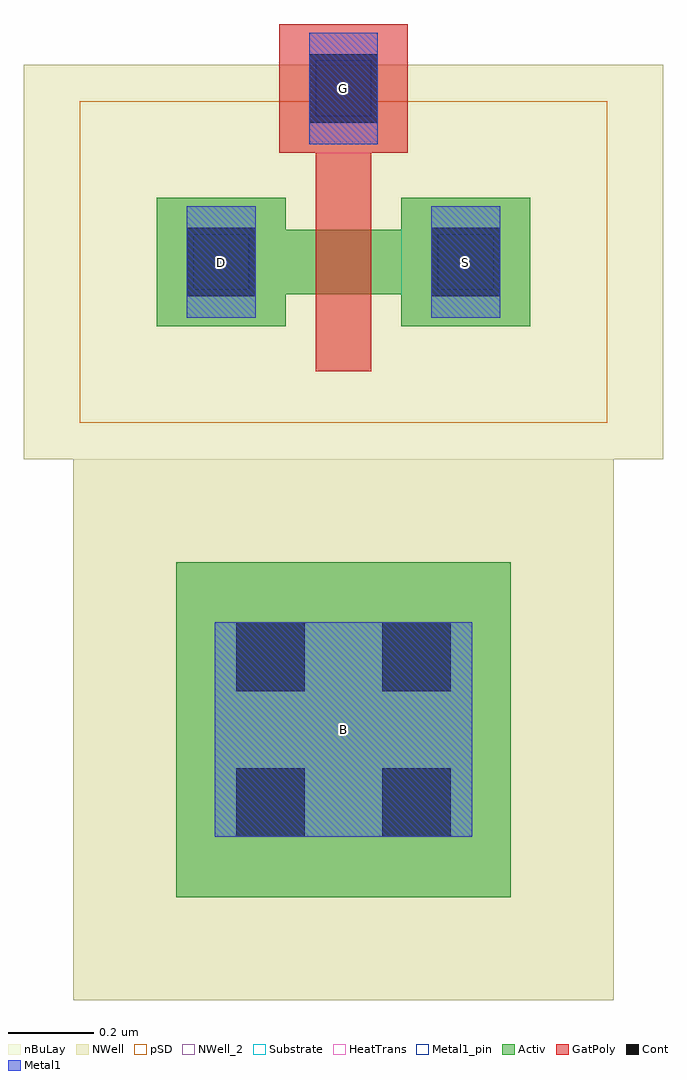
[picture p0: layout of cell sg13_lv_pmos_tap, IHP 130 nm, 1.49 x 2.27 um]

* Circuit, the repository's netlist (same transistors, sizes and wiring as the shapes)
** sch_path: /foss/designs/ihp-open-pdk-regression/LVS-testbenches/schematic/sg13_lv_pmos_tap.sch
.subckt sg13_lv_pmos_tap D S G B
*.PININFO D:B S:B G:B B:B
MM1 D G S net1 sg13_lv_pmos w=0.15u l=0.13u ng=1
RR1 B net1 ntap1 A=6.084e-13 P=3.12e-06
.ends

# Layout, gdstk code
from math import pi, radians
import gdstk
lib = gdstk.Library(unit=1e-6, precision=5e-09)
def R(c, l, rs):  # rectangles x0, y0, x1, y1
    for r in rs: c.add(gdstk.rectangle(r[:2], r[2:], *l))
Activ = (1, 0)
GatPoly = (5, 0)
Cont = (6, 0)
Metal1 = (8, 0)
Metal1_pin = (8, 2)
pSD = (14, 0)
NWell = (31, 0)
NWell_2 = (31, 2)
nBuLay = (32, 0)
Substrate = (40, 0)
HeatTrans = (51, 0)

pmos = lib.new_cell('pmos')
R(pmos, Activ, [(0,0,0.3,0.3), (0.57,0,0.87,0.3), (0,0.075,0.87,0.225)])
R(pmos, GatPoly, [(0.37,-0.105,0.5,0.405), (0.37,-0.105,0.5,0.405)])
R(pmos, Cont, [(0.07,0.07,0.23,0.23), (0.64,0.07,0.8,0.23)])
R(pmos, Metal1, [(0.07,0.02,0.23,0.28), (0.07,0.02,0.23,0.28), (0.64,0.02,0.8,0.28), (0.64,0.02,0.8,0.28)])
R(pmos, pSD, [(-0.18,-0.225,1.05,0.525)])
R(pmos, NWell, [(-0.31,-0.31,1.18,0.61)])
R(pmos, Substrate, [(0.57,0,0.87,0.3)])
R(pmos, HeatTrans, [(0.37,-0.105,0.5,0.405)])
pmos.add(gdstk.Label('pmos', (0.435,0.15), layer=63, texttype=0))
pmos.add(gdstk.Label('pmos', (0.435,0.15), layer=51, texttype=0))

via = lib.new_cell('Via')
R(via, GatPoly, [(-0.15,-0.15,0.15,0.15)])
R(via, Cont, [(-0.08,-0.08,0.08,0.08)])
R(via, Metal1, [(-0.13,-0.08,0.13,0.08)])

ntap1 = lib.new_cell('ntap1')
R(ntap1, Activ, [(0,0,0.78,0.78)])
R(ntap1, Cont, [(0.14,0.14,0.3,0.3), (0.48,0.14,0.64,0.3), (0.14,0.48,0.3,0.64), (0.48,0.48,0.64,0.64)])
R(ntap1, Metal1, [(0.14,0.09,0.64,0.69)])
R(ntap1, Metal1_pin, [(0.14,0.09,0.64,0.69), (0.14,0.14,0.64,0.64)])
R(ntap1, NWell, [(-0.24,-0.24,1.02,1.02), (0,0,0.78,0.78)])
R(ntap1, NWell_2, [(0,0,0.78,0.78)])
R(ntap1, nBuLay, [(-0.24,-0.24,1.02,1.02)])
ntap1.add(gdstk.Label('well', (0.39,0.01), layer=31, texttype=0))
ntap1.add(gdstk.Label('well', (0.39,0.01), layer=63, texttype=0))

sg13_lv_pmos_tap = lib.new_cell('sg13_lv_pmos_tap')
R(sg13_lv_pmos_tap, Metal1_pin, [(0.37,-1.005,0.5,-0.875), (0.085,0.085,0.215,0.215), (0.655,0.085,0.785,0.215), (0.37,0.49,0.5,0.62)])
sg13_lv_pmos_tap.add(gdstk.Reference(pmos, (0,0)))
sg13_lv_pmos_tap.add(gdstk.Reference(via, (0.435,0.555), rotation=3*pi/2))
sg13_lv_pmos_tap.add(gdstk.Reference(ntap1, (0.045,-0.55), rotation=3*pi/2))
sg13_lv_pmos_tap.add(gdstk.Label('D', (0.15,0.15), layer=8, texttype=25))
sg13_lv_pmos_tap.add(gdstk.Label('S', (0.72,0.15), layer=8, texttype=25))
sg13_lv_pmos_tap.add(gdstk.Label('G', (0.435,0.555), layer=8, texttype=25))
sg13_lv_pmos_tap.add(gdstk.Label('B', (0.435,-0.94), layer=8, texttype=25))

lib.write_gds('sg13_lv_pmos_tap.gds')
